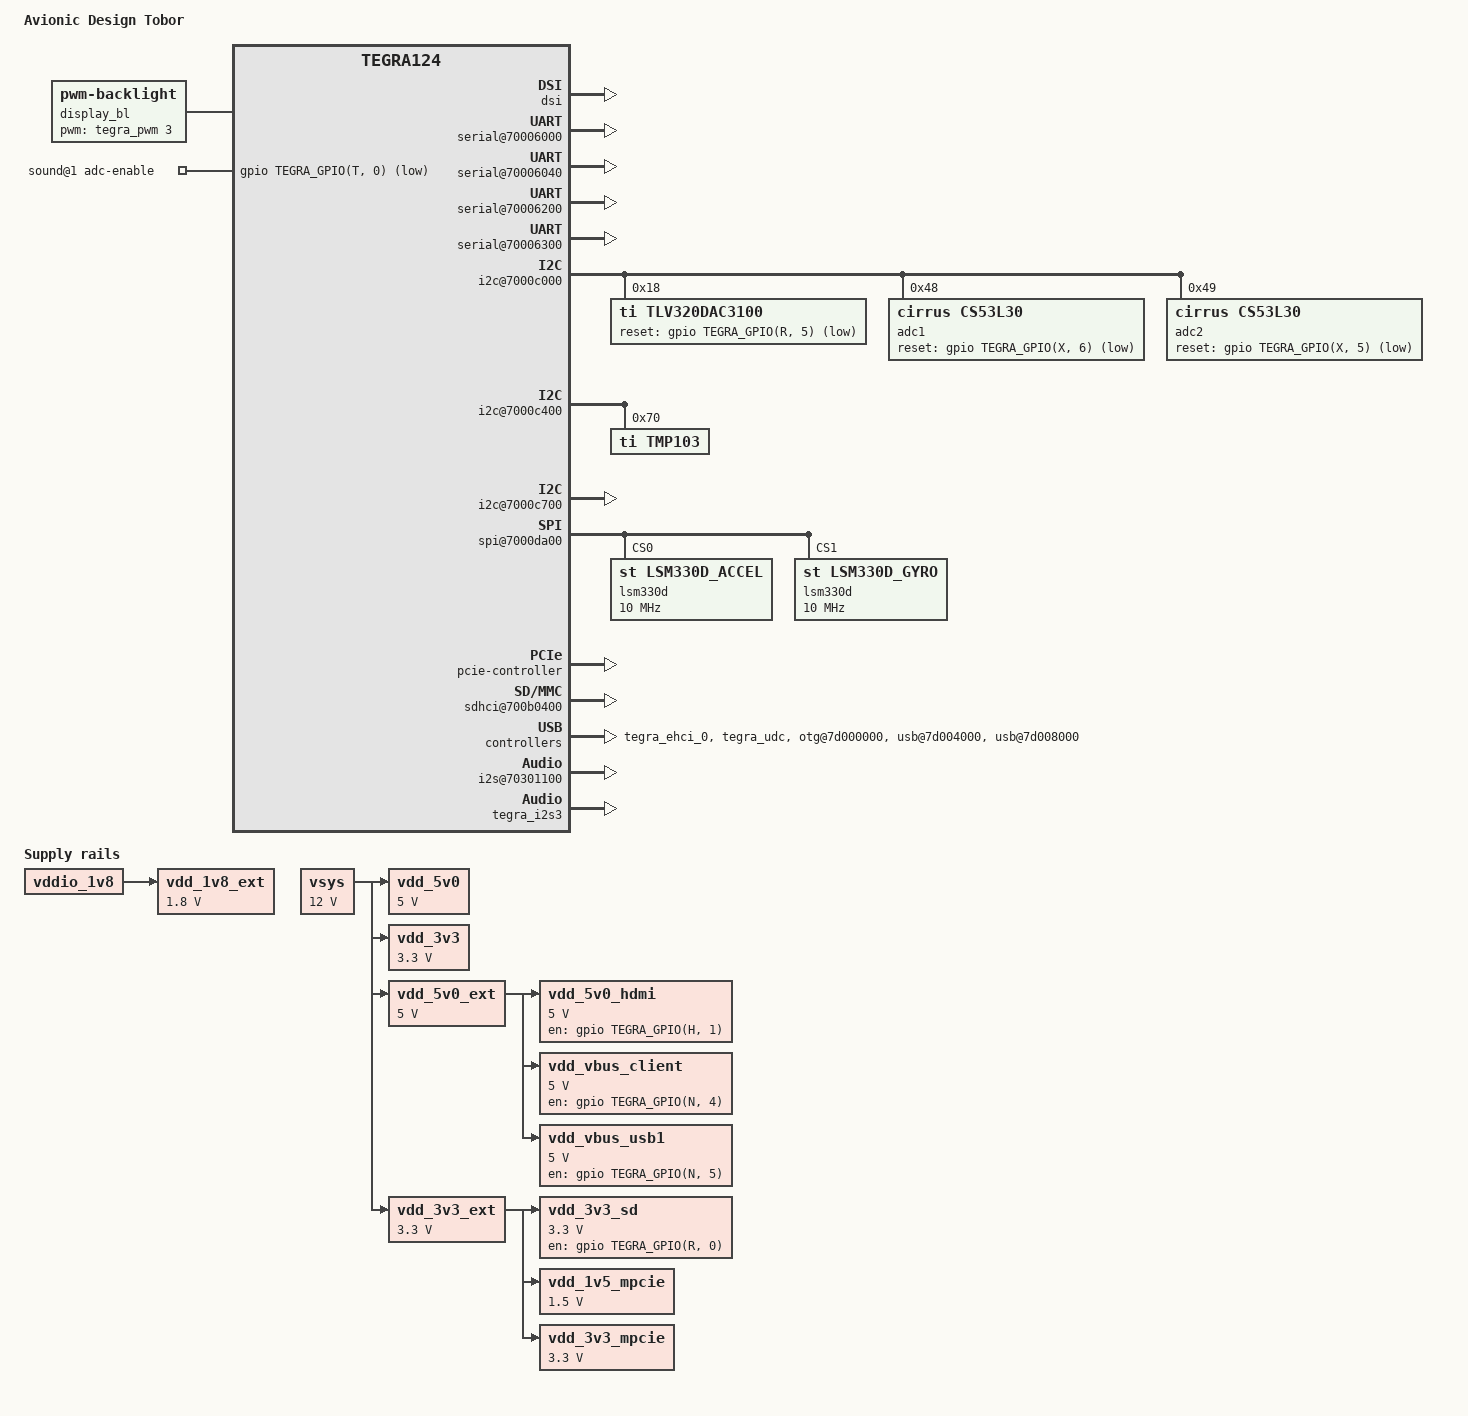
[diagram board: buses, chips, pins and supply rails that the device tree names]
/dts-v1/;

#include <dt-bindings/display/tegra-dc.h>
#include <dt-bindings/usb/tegra-ehci.h>
#include <dt-bindings/usb/tegra-xhci.h>
#include <dt-bindings/pci/tegra-pcie.h>

#include "tegra124-meerkat.dtsi"
#include "panel-n-720-1280-5.dtsi"

/ {
	model = "Avionic Design Tobor";
	compatible = "ad,tobor", "ad,meerkat", "nvidia,tegra124";
	nvidia,dtsfilename = __FILE__;

	pinmux {
		common {
			uart3_rxd_pw7 {
				nvidia,tristate = <TEGRA_PIN_DISABLE>;
			};

			uart3_txd_pw6 {
				nvidia,tristate = <TEGRA_PIN_DISABLE>;
			};

			pi4 {
				nvidia,function = "spi4";
				nvidia,pull = <TEGRA_PIN_PULL_UP>;
				nvidia,tristate = <TEGRA_PIN_DISABLE>;
			};

			/* FAN_PWM */
			ph0 {
				nvidia,function = "pwm0";
				nvidia,tristate = <TEGRA_PIN_DISABLE>;
			};

			/* Disable pu3 which is muxed to pwm0 as per
			 * "safe" function. We use pwm0 per ph0
			 * instead. */
			pu3 {
				nvidia,tristate = <TEGRA_PIN_ENABLE>;
			};

			/* LCD_BL_PWM */
			ph3 {
				nvidia,function = "pwm3";
				nvidia,tristate = <TEGRA_PIN_DISABLE>;
			};

			/* i2s1 (DAP2) / ADC */
			dap2_din_pa4 {
				nvidia,tristate = <TEGRA_PIN_DISABLE>;
			};

			dap2_fs_pa2 {
				nvidia,tristate = <TEGRA_PIN_DISABLE>;
			};

			dap2_sclk_pa3 {
				nvidia,tristate = <TEGRA_PIN_DISABLE>;
			};

			/* i2s3 (DAP4) / DAC */
			dap4_dout_pp6 {
				nvidia,tristate = <TEGRA_PIN_DISABLE>;
			};
			dap4_fs_pp4 {
				nvidia,tristate = <TEGRA_PIN_DISABLE>;
			};
			dap4_sclk_pp7 {
				nvidia,tristate = <TEGRA_PIN_DISABLE>;
			};
		};
	};

	display_bl: backlight {
		compatible = "pwm-backlight";
		pwms = <&tegra_pwm 3 1000000>;
		brightness-levels = <0 4 8 16 32 64 128 255>;
		default-brightness-level = <7>;
	};

	host1x {
		/* DSI Panel */
		/* tegradc.0 */
		dc@54200000 {
			status = "okay";
			/* Critical to be enabled for panel init */
			nvidia,dc-flags = <TEGRA_DC_FLAG_ENABLED>;
			nvidia,dc-connection = "internal-lcd";
			nvidia,cmu-enable = <1>;
			panel = <&panel>;
		};

		dsi {
			nvidia,dsi-controller-vs = <DSI_VS_1>;
			status = "okay";
			panel: panel-n-720-1280-5 {
				status = "okay";
				enable-gpios = <&gpio TEGRA_GPIO(R, 2) GPIO_ACTIVE_HIGH>;
				reset-gpios = <&gpio TEGRA_GPIO(W, 2) GPIO_ACTIVE_LOW>;
				reset-hold = <20>;
				reset-settle = <40>;
				backlight = <&display_bl>;
			};
		};
	};

	/* Use HS UART for the first 3 ports */
	serial@70006000 {
		compatible = "nvidia,tegra114-hsuart", "nvidia,tegra30-hsuart";
		status = "okay";
	};

	serial@70006040 {
		compatible = "nvidia,tegra114-hsuart", "nvidia,tegra30-hsuart";
		status = "okay";
	};

	serial@70006200 {
		compatible = "nvidia,tegra114-hsuart", "nvidia,tegra30-hsuart";
		status = "okay";
	};

	serial@70006300 {
		status = "okay";
	};

	/* GEN 1 */
	i2c@7000c000 {
		status = "okay";

		tlv320dac3100: tlv320dac3100@18 {
			compatible = "ti,tlv320dac3100";
			reg = <0x18>;

			reset-gpio = <&gpio TEGRA_GPIO(R, 5) GPIO_ACTIVE_LOW>;
		};

		adc1: adc@48 {
			compatible = "cirrus,cs53l30";
			reg = <0x48>;

			#sound-dai-cells = <0>;
			reset-gpio = <&gpio TEGRA_GPIO(X, 6) GPIO_ACTIVE_LOW>;
		};

		adc2: adc@49 {
			compatible = "cirrus,cs53l30";
			reg = <0x49>;

			#sound-dai-cells = <0>;
			reset-gpio = <&gpio TEGRA_GPIO(X, 5) GPIO_ACTIVE_LOW>;
		};
	};

	/* GEN 2 */
	i2c@7000c400 {
		status = "okay";

		tmp103@70 {
			compatible = "ti,tmp103";
			reg = <0x70>;
		};
	};

	/* HDMI DDC */
	i2c@7000c700 {
		status = "okay";
	};

	/* SPI4 */
	spi@7000da00 {
		status = "okay";
		spi-max-frequency = <25000000>;

		lsm330d@0 {
			compatible = "st,lsm330d_accel";
			reg = <0>;
			spi-max-frequency = <10000000>;

			controller-data {
				nvidia,enable-hw-based-cs;
			};
		};
		lsm330d@1 {
			compatible = "st,lsm330d_gyro";
			reg = <1>;
			spi-max-frequency = <10000000>;

			controller-data {
				nvidia,enable-hw-based-cs;
			};
		};

	};

	pcie-controller {
		nvidia,port0_status = <1>;
		nvidia,port1_status = <0>;
		nvidia,lanes = <TEGRA_PCIE_LANES_X2_X1>;
		status = "okay";
	};

	memory-controller@7001b000 {
		/* The forth RAM code bit is overriden by the lsm330d so we
		 * need to mask it out. */
		nvidia,ram-code-mask = <0x7>;
	};

	/* HDMI audio */
	hda@70030000 {
		status = "okay";
	};

	/* MMC card slot */
	sdhci@700b0400 {
		status = "okay";
		vddio_sd_slot-supply = <&vdd_3v3_sd>;
	};

	/* Recovery USB */
	tegra_ehci_0: usb@7d000000 {
		status = "okay";
		nvidia,port-otg;
		nvidia,phy-interface = <TEGRA_USB_PHY_INTF_UTMI>;
		nvidia,mode = <TEGRA_USB_OPMODE_HOST>;
		nvidia,id-det-type = <TEGRA_USB_PMU_ID>;
		nvidia,id-extcon-dev-name = "as3722-extcon";

		nvidia,hotplug;
		nvidia,remote-wakeup-supported;
		nvidia,power-off-on-suspend;

		nvidia,hssync-start-delay = <0>;
		nvidia,elastic-limit = <16>;
		nvidia,idle-wait-delay = <17>;
		nvidia,term-range-adj = <6>;
		nvidia,xcvr-setup = <8>;
		nvidia,xcvr-lsfslew = <2>;
		nvidia,xcvr-lsrslew = <2>;
		nvidia,xcvr-setup-offset = <0>;
		nvidia,xcvr-use-fuses = <1>;
		nvidia,vbus-oc-map = <0x5>;

		usb_vbus-supply = <&vdd_vbus_client>;
	};

	tegra_udc: udc@7d000000 {
		status = "okay";
		nvidia,port-otg;
		nvidia,has-host;
		nvidia,phy-interface = <TEGRA_USB_PHY_INTF_UTMI>;
		nvidia,mode = <TEGRA_USB_OPMODE_DEVICE>;
		nvidia,id-det-type = <TEGRA_USB_PMU_ID>;
		nvidia,id-extcon-dev-name = "as3722-extcon";

		nvidia,hssync-start-delay = <0>;
		nvidia,elastic-limit = <16>;
		nvidia,idle-wait-delay = <17>;
		nvidia,term-range-adj = <6>;
		nvidia,xcvr-setup = <8>;
		nvidia,xcvr-lsfslew = <2>;
		nvidia,xcvr-lsrslew = <2>;
		nvidia,xcvr-setup-offset = <0>;
		nvidia,xcvr-use-fuses = <1>;

		usb_vbus-supply = <&vdd_vbus_client>;
	};

	otg@7d000000 {
		status = "okay";
		nvidia,ehci-device = <&tegra_ehci_0>;

		usb_vbus-supply = <&vdd_vbus_client>;
	};

	/* USB1 */
	usb@7d004000 {
		status = "okay";
		nvidia,phy-interface = <TEGRA_USB_PHY_INTF_UTMI>;
		nvidia,mode = <TEGRA_USB_OPMODE_HOST>;

		nvidia,hotplug;
		nvidia,remote-wakeup-supported;
		nvidia,power-off-on-suspend;

		nvidia,hssync-start-delay = <0>;
		nvidia,elastic-limit = <16>;
		nvidia,idle-wait-delay = <17>;
		nvidia,term-range-adj = <6>;
		nvidia,xcvr-setup = <8>;
		nvidia,xcvr-lsfslew = <2>;
		nvidia,xcvr-lsrslew = <2>;
		nvidia,xcvr-setup-offset = <0>;
		nvidia,xcvr-use-fuses = <1>;
		nvidia,vbus-oc-map = <0x5>;

		usb_vbus-supply = <&vdd_vbus_usb1>;
	};

	/* USB2 */
	usb@7d008000 {
		status = "okay";
		nvidia,phy-interface = <TEGRA_USB_PHY_INTF_UTMI>;
		nvidia,mode = <TEGRA_USB_OPMODE_HOST>;

		nvidia,hotplug;
		nvidia,remote-wakeup-supported;
		nvidia,power-off-on-suspend;

		nvidia,hssync-start-delay = <0>;
		nvidia,elastic-limit = <16>;
		nvidia,idle-wait-delay = <17>;
		nvidia,term-range-adj = <6>;
		nvidia,xcvr-setup = <8>;
		nvidia,xcvr-lsfslew = <2>;
		nvidia,xcvr-lsrslew = <2>;
		nvidia,xcvr-setup-offset = <0>;
		nvidia,xcvr-use-fuses = <1>;
		nvidia,vbus-oc-map = <0x5>;
	};

	avp-audio {
		compatible = "nvidia,tegra124-avp-audio", "nvidia,tegra30-avp-audio";
	};

	audio-offload {
		compatible = "nvidia,tegra-offload";
	};

	ahub {
		status = "okay";

		i2s@70301100 {
			status = "okay";
		};

		tegra_i2s3: i2s@70301300 {
			status = "okay";
		};
	};

	sound@0 {
		compatible = "nvidia,tegra-audio-tlv320dac3100";
		reg = <0x0 0x0 0x0 0x0>;
		nvidia,model = "Tobor TLV320DAC3100";

		nvidia,audio-routing =
			"Headphone", "HPL",
			"Headphone", "HPR";

		nvidia,memory-clients = <14>;
		nvidia,i2s-controller = <&tegra_i2s3>;
		nvidia,i2s-is-master;
		nvidia,audio-codec = <&tlv320dac3100>;
		nvidia,extern-clk-id = <3>;
	};

	sound@1 {
		compatible = "ad,tobor-adc";
		reg = <0x0 0x1 0x0 0x0>;
		nvidia,model = "Tobor ADC";

		nvidia,audio-routing =
			"A IN1", "Mic 1",
			"A IN2", "Mic 2",
			"A IN3", "Mic 3",
			"A IN4", "Mic 4",
			"B IN1", "Mic 5",
			"B IN2", "Mic 6",
			"B IN3", "Loopback",
			"B IN4", "Loopback";

		nvidia,memory-clients = <SWGID_PPCS>;
		nvidia,i2s-controller = <&tegra_i2s1>;
		nvidia,i2s-is-master;
		sound-dai = <&adc1>, <&adc2>;

		adc-enable-gpio = <&gpio TEGRA_GPIO(T, 0) GPIO_ACTIVE_LOW>;
	};

	regulators {
		vsys: regulator@50 {
			compatible = "regulator-fixed";
			reg = <50>;
			regulator-name = "VSYS";
			regulator-min-microvolt = <12000000>;
			regulator-max-microvolt = <12000000>;
			regulator-always-on;
			regulator-boot-on;
		};

		vdd_5v0: regulator@101 {
			compatible = "regulator-fixed";
			reg = <101>;
			regulator-name = "+5V_SOM";
			regulator-min-microvolt = <5000000>;
			regulator-max-microvolt = <5000000>;
			vin-supply = <&vsys>;
		};

		vdd_3v3: regulator@102 {
			compatible = "regulator-fixed";
			reg = <102>;
			regulator-name = "+3V3_SOM";
			regulator-min-microvolt = <3300000>;
			regulator-max-microvolt = <3300000>;
			vin-supply = <&vsys>;
		};

		vdd_5v0_ext: regulator@103 {
			compatible = "regulator-fixed";
			reg = <103>;
			regulator-name = "+5V_EXT";
			regulator-min-microvolt = <5000000>;
			regulator-max-microvolt = <5000000>;
			vin-supply = <&vsys>;
		};

		vdd_3v3_ext: regulator@104 {
			compatible = "regulator-fixed";
			reg = <104>;
			regulator-name = "+3V3_EXT";
			regulator-min-microvolt = <3300000>;
			regulator-max-microvolt = <3300000>;
			vin-supply = <&vsys>;
		};

		vdd_1v8_ext: regulator@105 {
			compatible = "regulator-fixed";
			reg = <105>;
			regulator-name = "+1V8_EXT";
			regulator-min-microvolt = <1800000>;
			regulator-max-microvolt = <1800000>;
			vin-supply = <&vddio_1v8>;
		};

		vdd_5v0_hdmi: regulator@106 {
			compatible = "regulator-fixed";
			reg = <106>;
			regulator-name = "HDMI_VCC";
			regulator-min-microvolt = <5000000>;
			regulator-max-microvolt = <5000000>;
			vin-supply = <&vdd_5v0_ext>;
			gpio = <&gpio TEGRA_GPIO(H, 1) GPIO_ACTIVE_HIGH>;
			enable-active-high;
		};

		vdd_3v3_sd: regulator@107 {
			compatible = "regulator-fixed";
			reg = <107>;
			regulator-name = "+3V3_SD";
			regulator-min-microvolt = <3300000>;
			regulator-max-microvolt = <3300000>;
			vin-supply = <&vdd_3v3_ext>;
			gpio = <&gpio TEGRA_GPIO(R, 0) GPIO_ACTIVE_HIGH>;
			enable-active-high;
		};

		vdd_1v5_mpcie: regulator@108 {
			compatible = "regulator-fixed";
			reg = <108>;
			regulator-name = "+1V5_mPCIe";
			regulator-min-microvolt = <1500000>;
			regulator-max-microvolt = <1500000>;
			vin-supply = <&vdd_3v3_ext>;
		};

		vdd_3v3_mpcie: regulator@109 {
			compatible = "regulator-fixed";
			reg = <109>;
			regulator-name = "+3V3_mPCIe";
			regulator-min-microvolt = <3300000>;
			regulator-max-microvolt = <3300000>;
			vin-supply = <&vdd_3v3_ext>;
		};

		vdd_vbus_client: regulator@110 {
			compatible = "regulator-fixed";
			reg = <110>;
			regulator-name = "USB_CLIENT_VBUS";
			regulator-min-microvolt = <5000000>;
			regulator-max-microvolt = <5000000>;
			vin-supply = <&vdd_5v0_ext>;
			gpio = <&gpio TEGRA_GPIO(N, 4) GPIO_ACTIVE_HIGH>;
			enable-active-high;
			gpio-open-drain;
		};

		vdd_vbus_usb1: regulator@111 {
			compatible = "regulator-fixed";
			reg = <111>;
			regulator-name = "USB1_VCC";
			regulator-min-microvolt = <5000000>;
			regulator-max-microvolt = <5000000>;
			vin-supply = <&vdd_5v0_ext>;
			gpio = <&gpio TEGRA_GPIO(N, 5) GPIO_ACTIVE_HIGH>;
			enable-active-high;
			gpio-open-drain;
		};
	};

	pwm-fan {
		status = "okay";
	};
 };
